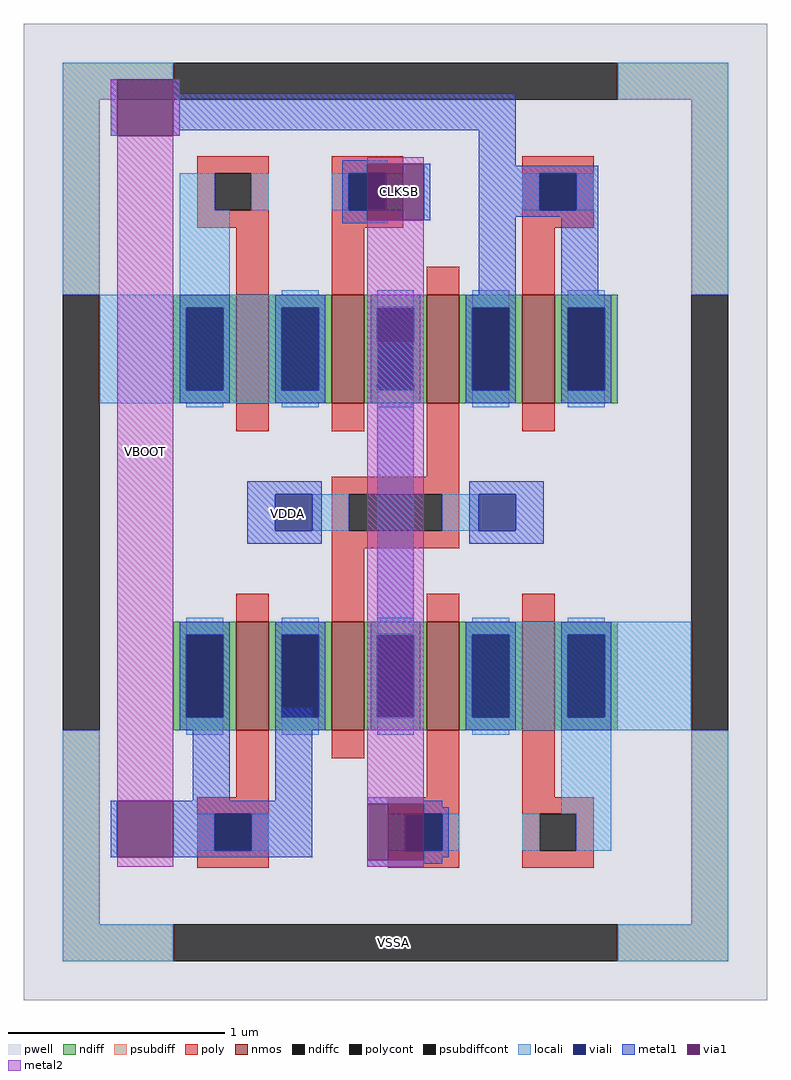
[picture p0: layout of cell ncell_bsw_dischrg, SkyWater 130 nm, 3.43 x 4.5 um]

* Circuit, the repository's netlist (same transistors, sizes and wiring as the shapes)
** sch_path: /home/yohanes/sky130_projects/UNIC-CASS-2024/xschem/ncell_bsw_dischrg.sch
.subckt ncell_bsw_dischrg VDDA CLKSB VBOOT VSSA
*.PININFO VDDA:I CLKSB:I VBOOT:I VSSA:I
XM1 VBOOT VDDA PROTECTION VSSA sky130_fd_pr__nfet_01v8 L=0.15 W=0.5 nf=1 ad='int((nf+1)/2) * W/nf * 0.29' as='int((nf+2)/2) * W/nf * 0.29'
+ pd='2*int((nf+1)/2) * (W/nf + 0.29)' ps='2*int((nf+2)/2) * (W/nf + 0.29)' nrd='0.29 / W' nrs='0.29 / W' sa=0 sb=0 sd=0 mult=2 m=2
XM2 PROTECTION CLKSB VSSA VSSA sky130_fd_pr__nfet_01v8 L=0.15 W=0.5 nf=1 ad='int((nf+1)/2) * W/nf * 0.29' as='int((nf+2)/2) * W/nf * 0.29'
+ pd='2*int((nf+1)/2) * (W/nf + 0.29)' ps='2*int((nf+2)/2) * (W/nf + 0.29)' nrd='0.29 / W' nrs='0.29 / W' sa=0 sb=0 sd=0 mult=2 m=2
XM3 VBOOT VBOOT VBOOT VSSA sky130_fd_pr__nfet_01v8 L=0.15 W=0.5 nf=1 ad='int((nf+1)/2) * W/nf * 0.29' as='int((nf+2)/2) * W/nf * 0.29'
+ pd='2*int((nf+1)/2) * (W/nf + 0.29)' ps='2*int((nf+2)/2) * (W/nf + 0.29)' nrd='0.29 / W' nrs='0.29 / W' sa=0 sb=0 sd=0 mult=2 m=2
XM4 VSSA VSSA VSSA VSSA sky130_fd_pr__nfet_01v8 L=0.15 W=0.5 nf=1 ad='int((nf+1)/2) * W/nf * 0.29' as='int((nf+2)/2) * W/nf * 0.29'
+ pd='2*int((nf+1)/2) * (W/nf + 0.29)' ps='2*int((nf+2)/2) * (W/nf + 0.29)' nrd='0.29 / W' nrs='0.29 / W' sa=0 sb=0 sd=0 mult=2 m=2
.ends
.end

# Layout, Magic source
magic
tech sky130A
magscale 1 2
<< pwell >>
rect -138 -1725 548 -824
<< ndiff >>
rect 179 -1156 231 -1092
<< psubdiff >>
rect -102 -894 0 -860
rect 410 -894 512 -860
rect -102 -1074 -68 -894
rect 478 -1074 512 -894
rect -102 -1655 -68 -1476
rect 478 -1655 512 -1476
rect -102 -1689 0 -1655
rect 410 -1689 512 -1655
<< psubdiffcont >>
rect 0 -894 410 -860
rect -102 -1476 -68 -1074
rect 478 -1476 512 -1074
rect 0 -1689 410 -1655
<< poly >>
rect 22 -962 88 -946
rect 22 -996 38 -962
rect 72 -996 88 -962
rect 22 -1012 88 -996
rect 58 -1048 88 -1012
rect 146 -962 212 -946
rect 146 -996 162 -962
rect 196 -996 212 -962
rect 146 -1012 212 -996
rect 322 -962 388 -946
rect 322 -996 338 -962
rect 372 -996 388 -962
rect 322 -1012 388 -996
rect 146 -1048 176 -1012
rect 322 -1048 352 -1012
rect 234 -1242 264 -1199
rect 146 -1258 264 -1242
rect 146 -1292 162 -1258
rect 248 -1292 264 -1258
rect 146 -1308 264 -1292
rect 146 -1350 176 -1308
rect 58 -1538 88 -1476
rect 234 -1538 264 -1502
rect 22 -1553 88 -1538
rect 22 -1587 38 -1553
rect 72 -1587 88 -1553
rect 22 -1603 88 -1587
rect 198 -1553 264 -1538
rect 198 -1587 214 -1553
rect 248 -1587 264 -1553
rect 198 -1603 264 -1587
rect 322 -1538 352 -1476
rect 322 -1553 388 -1538
rect 322 -1587 338 -1553
rect 372 -1587 388 -1553
rect 322 -1603 388 -1587
<< polycont >>
rect 38 -996 72 -962
rect 162 -996 196 -962
rect 338 -996 372 -962
rect 162 -1292 248 -1258
rect 38 -1587 72 -1553
rect 214 -1587 248 -1553
rect 338 -1587 372 -1553
<< locali >>
rect -102 -894 0 -860
rect 410 -894 512 -860
rect -102 -1074 -68 -894
rect 6 -996 38 -962
rect 72 -996 88 -962
rect 146 -996 162 -962
rect 196 -996 212 -962
rect 322 -996 338 -962
rect 372 -996 388 -962
rect 6 -1074 52 -996
rect 478 -1074 512 -894
rect -68 -1174 140 -1074
rect 128 -1292 162 -1258
rect 248 -1292 282 -1258
rect 270 -1476 478 -1376
rect -102 -1655 -68 -1476
rect 358 -1553 404 -1476
rect 22 -1587 38 -1553
rect 72 -1587 88 -1553
rect 198 -1587 214 -1553
rect 248 -1587 264 -1553
rect 322 -1587 338 -1553
rect 372 -1587 404 -1553
rect 478 -1655 512 -1476
rect -102 -1689 0 -1655
rect 410 -1689 512 -1655
<< viali >>
rect 162 -996 196 -962
rect 338 -996 372 -962
rect 94 -1292 128 -1258
rect 282 -1292 316 -1258
rect 38 -1587 72 -1553
rect 214 -1587 248 -1553
<< metal1 >>
rect -58 -927 -52 -875
rect 0 -888 6 -875
rect 0 -922 316 -888
rect 0 -927 6 -922
rect 156 -953 198 -950
rect 156 -962 179 -953
rect 156 -996 162 -962
rect 156 -1005 179 -996
rect 231 -1005 237 -953
rect 282 -955 316 -922
rect 282 -962 392 -955
rect 282 -996 338 -962
rect 372 -996 392 -962
rect 282 -1002 392 -996
rect 156 -1008 198 -1005
rect 282 -1074 316 -1002
rect 358 -1074 392 -1002
rect 68 -1258 137 -1246
rect 68 -1292 94 -1258
rect 128 -1292 137 -1258
rect 68 -1304 137 -1292
rect 188 -1376 222 -1118
rect 273 -1258 342 -1246
rect 273 -1292 282 -1258
rect 316 -1292 342 -1258
rect 273 -1304 342 -1292
rect 18 -1541 52 -1464
rect 94 -1541 128 -1455
rect -58 -1593 -52 -1541
rect 0 -1553 128 -1541
rect 0 -1587 38 -1553
rect 72 -1587 128 -1553
rect 0 -1593 128 -1587
rect 179 -1541 231 -1538
rect 179 -1544 248 -1541
rect 231 -1547 248 -1544
rect 231 -1553 254 -1547
rect 248 -1587 254 -1553
rect 231 -1593 254 -1587
rect 231 -1596 248 -1593
rect 179 -1599 248 -1596
rect 179 -1602 231 -1599
<< via1 >>
rect -52 -927 0 -875
rect 179 -962 231 -953
rect 179 -996 196 -962
rect 196 -996 231 -962
rect 179 -1005 231 -996
rect -52 -1593 0 -1541
rect 179 -1553 231 -1544
rect 179 -1587 214 -1553
rect 214 -1587 231 -1553
rect 179 -1596 231 -1587
<< metal2 >>
rect -58 -927 -52 -875
rect 0 -927 6 -875
rect -52 -1541 0 -927
rect -52 -1602 0 -1593
rect 179 -953 231 -947
rect 179 -1544 231 -1005
rect 179 -1602 231 -1596
use sky130_fd_pr__nfet_01v8_6J3TAM  sky130_fd_pr__nfet_01v8_6J3TAM_0
transform 1 0 337 0 1 -1124
box -73 -76 73 76
use sky130_fd_pr__nfet_01v8_6J3TAM  sky130_fd_pr__nfet_01v8_6J3TAM_1
transform 1 0 73 0 1 -1124
box -73 -76 73 76
use sky130_fd_pr__nfet_01v8_6J3TAM  sky130_fd_pr__nfet_01v8_6J3TAM_2
transform 1 0 161 0 1 -1124
box -73 -76 73 76
use sky130_fd_pr__nfet_01v8_6J3TAM  sky130_fd_pr__nfet_01v8_6J3TAM_3
transform 1 0 249 0 1 -1124
box -73 -76 73 76
use sky130_fd_pr__nfet_01v8_6J3TAM  sky130_fd_pr__nfet_01v8_6J3TAM_4
transform 1 0 73 0 1 -1426
box -73 -76 73 76
use sky130_fd_pr__nfet_01v8_6J3TAM  sky130_fd_pr__nfet_01v8_6J3TAM_5
transform 1 0 161 0 1 -1426
box -73 -76 73 76
use sky130_fd_pr__nfet_01v8_6J3TAM  sky130_fd_pr__nfet_01v8_6J3TAM_6
transform 1 0 249 0 1 -1426
box -73 -76 73 76
use sky130_fd_pr__nfet_01v8_6J3TAM  sky130_fd_pr__nfet_01v8_6J3TAM_7
transform 1 0 337 0 1 -1426
box -73 -76 73 76
<< labels >>
flabel locali s 203 -1672 203 -1672 0 FreeSans 160 0 0 0 VSSA
port 4 nsew
flabel metal2 s -26 -1219 -26 -1219 0 FreeSans 160 0 0 0 VBOOT
port 3 nsew
flabel metal1 s 105 -1276 106 -1276 0 FreeSans 160 0 0 0 VDDA
port 1 nsew
flabel metal2 s 208 -979 209 -979 0 FreeSans 160 0 0 0 CLKSB
port 2 nsew
<< end >>

# cell sky130_fd_pr__nfet_01v8_6J3TAM: kit device sky130_fd_pr__nfet_01v8, w 0.5 l 0.15 m 1 nf 1 diffcov 100 polycov 100 guard 0 glc 1 grc 1 gtc 1 gbc 1 tbcov 100 rlcov 100 topc 0 botc 0 poverlap 0 doverlap 0 lmin 0.15 wmin 0.42 compatible {sky130_fd_pr__nfet_01v8 sky130_fd_pr__nfet_01v8_lvt sky130_fd_bs_flash__special_sonosfet_star sky130_fd_pr__nfet_g5v0d10v5 sky130_fd_pr__nfet_05v0_nvt sky130_fd_pr__nfet_03v3_nvt} full_metal 1 viasrc 100 viadrn 100 viagate 100 viagb 0 viagr 0 viagl 0 viagt 0
